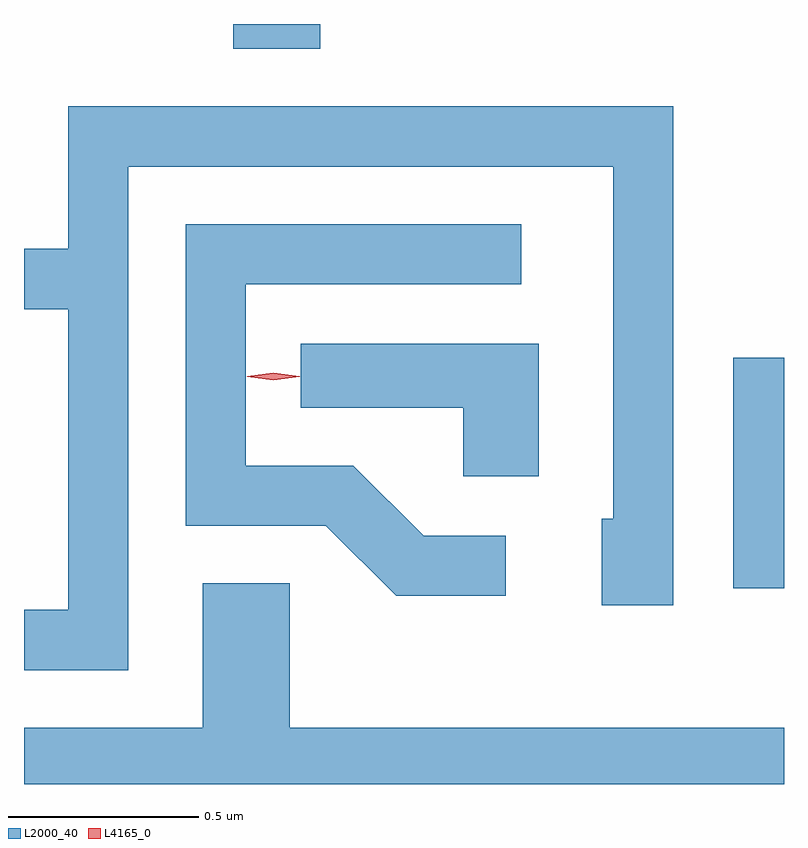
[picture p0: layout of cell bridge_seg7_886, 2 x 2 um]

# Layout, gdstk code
import gdstk
lib = gdstk.Library(unit=1e-6, precision=1e-09)
def R(c, l, rs):  # rectangles x0, y0, x1, y1
    for r in rs: c.add(gdstk.rectangle(r[:2], r[2:], *l))
def P(c, l, *ps):  # polygons
    for p in ps: c.add(gdstk.Polygon(p, *l))
L2000_40 = (2000, 40)
L4165_0 = (4165, 0)

bridge_seg7_886 = lib.new_cell('bridge_seg7_886')
R(bridge_seg7_886, L2000_40, [(315.906,1694.971,316.04,1695.578), (314.591,1696.391,314.819,1696.456)])
P(bridge_seg7_886, L2000_40, [(314.314,1696.081),(315.591,1696.081),(315.591,1695.154),(315.561,1695.154),(315.561,1694.926),(315.749,1694.926),(315.749,1696.239),(314.156,1696.239),(314.156,1695.864),(314.04,1695.864),(314.04,1695.706),(314.156,1695.706),(314.156,1694.914),(314.04,1694.914),(314.04,1694.756),(314.314,1694.756)],
  [(315.308,1695.109),(315.092,1695.109),(314.907,1695.294),(314.624,1695.294),(314.624,1695.771),(315.348,1695.771),(315.348,1695.929),(314.466,1695.929),(314.466,1695.136),(314.834,1695.136),(315.019,1694.951),(315.308,1694.951)],
  [(315.394,1695.614),(314.768,1695.614),(314.768,1695.446),(315.196,1695.446),(315.196,1695.266),(315.394,1695.266)],
  [(316.04,1694.604),(314.739,1694.604),(314.739,1694.984),(314.511,1694.984),(314.511,1694.604),(314.04,1694.604),(314.04,1694.456),(316.04,1694.456)])
P(bridge_seg7_886, L4165_0, [(314.696,1695.518),(314.627,1695.528),(314.627,1695.528),(314.627,1695.529),(314.696,1695.538),(314.766,1695.529),(314.766,1695.528),(314.766,1695.528)],
  [(314.696,1695.518),(314.63,1695.528),(314.629,1695.528),(314.63,1695.529),(314.696,1695.538),(314.762,1695.529),(314.763,1695.528),(314.762,1695.528)])

lib.write_gds('bridge_seg7_886.gds')
